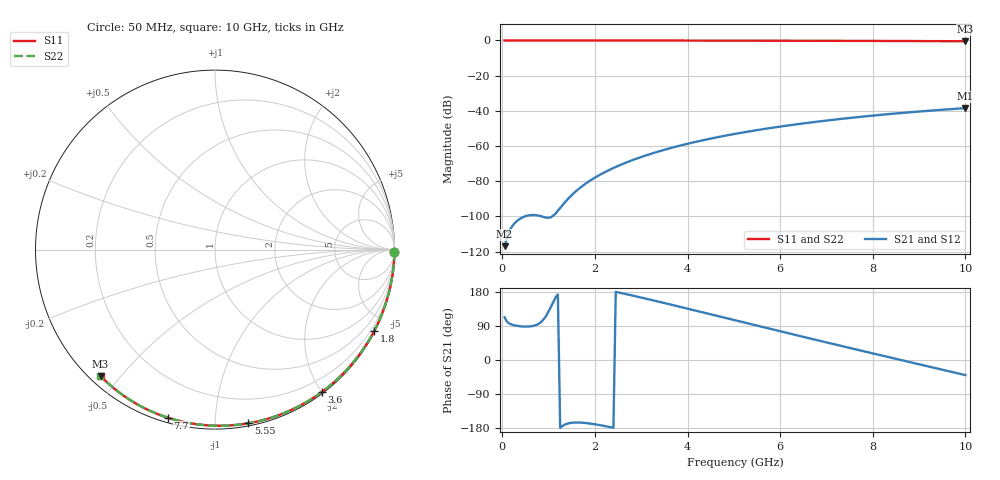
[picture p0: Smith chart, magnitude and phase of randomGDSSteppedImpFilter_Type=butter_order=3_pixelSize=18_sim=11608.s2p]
! freq	dB(S11)	phase(S11)	dB(S12)	phase(S12)
!  dB(S21)	phase(S21)	dB(S22)	phase(S22)
!S-par simulation data
#  GHz  S  DB  R 50
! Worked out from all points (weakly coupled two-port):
!   200 points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, 50 MHz to 10 GHz, reference 50 ohm
!   highest |S21| = -38.48 dB at 10 GHz (marker M1); lowest = -116.9 dB at 50 MHz (marker M2)
!   lowest |S11| = -0.4 dB at 10 GHz (marker M3), VSWR 38.98, Z = 1.53 - j22.1 ohm
!   |S11| at or under -10 dB: nowhere
!   |S22| runs from -0.4 to 0.0 dB; largest |S21 - S12| = 0
!   S11 on the Smith chart (normalised r, x): 50 MHz: open; 1.8 GHz: 0.04, -4.15; 3.6 GHz: 0.02, -2.01; 5.55 GHz: 0.02, -1.21; 7.7 GHz: 0.02, -0.76; 10 GHz: 0.03, -0.44
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0.05  -0.00 -0.8  -116.94 112.6  -116.94 112.6  -0.00 -0.8
0.9  -0.02 -13.7  -100.43 108.5  -100.43 108.5  -0.02 -13.7
1.75  -0.03 -26.4  -82.32 -165.7  -82.32 -165.7  -0.03 -26.4
1.8  -0.03 -27.1  -81.37 -166.3  -81.37 -166.3  -0.03 -27.1
1.85  -0.04 -27.8  -80.47 -167.0  -80.47 -167.0  -0.04 -27.8
1.9  -0.04 -28.6  -79.61 -167.8  -79.61 -167.8  -0.04 -28.6
2.05  -0.04 -30.8  -77.21 -170.7  -77.21 -170.7  -0.04 -30.8
2.25  -0.04 -33.7  -74.38 -175.2  -74.38 -175.2  -0.04 -33.7
2.45  -0.05 -36.6  -71.89 179.8  -71.89 179.8  -0.05 -36.6
2.65  -0.05 -39.5  -69.66 174.5  -69.66 174.5  -0.05 -39.5
3  -0.06 -44.5  -66.25 164.8  -66.25 164.8  -0.06 -44.5
3.4  -0.07 -50.2  -62.91 153.2  -62.91 153.2  -0.07 -50.2
3.6  -0.07 -53.0  -61.41 147.4  -61.41 147.4  -0.07 -53.0
4.3  -0.09 -62.6  -56.90 126.6  -56.90 126.6  -0.09 -62.6
5.05  -0.11 -72.6  -52.98 104.2  -52.98 104.2  -0.11 -72.6
5.55  -0.13 -79.1  -50.75 89.3  -50.75 89.3  -0.13 -79.1
6.1  -0.15 -86.1  -48.58 72.9  -48.58 72.9  -0.15 -86.1
6.7  -0.18 -93.6  -46.49 55.2  -46.49 55.2  -0.18 -93.6
7.7  -0.24 -105.6  -43.51 26.1  -43.51 26.1  -0.24 -105.7
8.35  -0.29 -113.3  -41.85 7.3  -41.85 7.3  -0.29 -113.3
9.15  -0.36 -122.5  -40.07 -15.6  -40.07 -15.6  -0.36 -122.5
10  -0.45 -132.2  -38.48 -39.9  -38.48 -39.9  -0.45 -132.2
